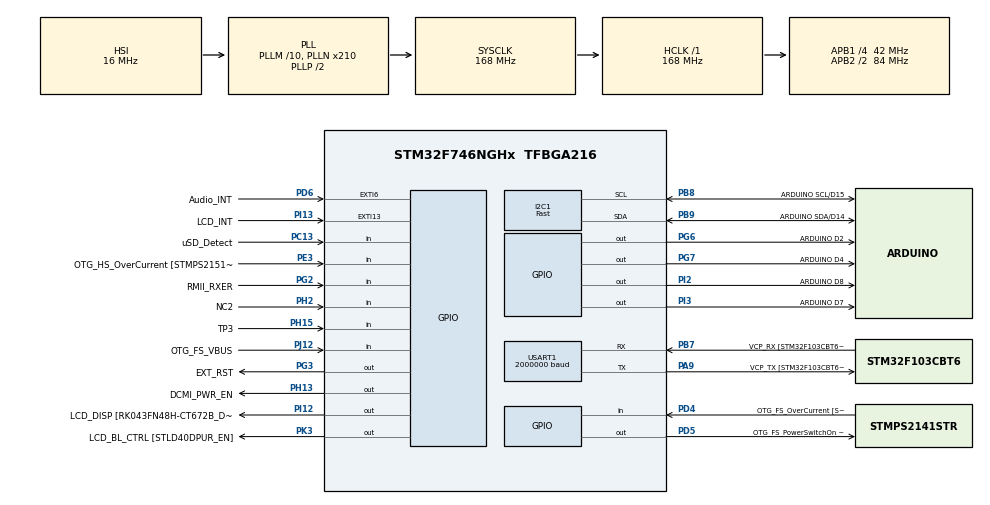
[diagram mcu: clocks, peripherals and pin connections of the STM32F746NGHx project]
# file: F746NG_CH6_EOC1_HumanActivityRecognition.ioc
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I2C1.I2C_Speed_Mode=I2C_Fast
I2C1.Timing=0x0040154A
Mcu.Family=STM32F7
Mcu.Name=STM32F746NGHx
Mcu.Package=TFBGA216
NVIC.PriorityGroup=NVIC_PRIORITYGROUP_4
NVIC.TIM2_IRQn=true\:1\:0\:true\:false\:true\:true\:true
PA0/WKUP.GPIO_Label=ARDUINO A0
PA0/WKUP.GPIO_Mode=GPIO_MODE_ANALOG
PA0/WKUP.GPIO_PuPd=GPIO_NOPULL
PA0/WKUP.Signal=ADCx_IN0
PA1.GPIO_Label=RMII_REF_CLK [LAN8742A-CZ-TR_REFCLK0]
PA1.Signal=ETH_REF_CLK
PA10.GPIO_Label=OTG_FS_ID
PA10.Signal=USB_OTG_FS_ID
PA11.GPIO_Label=OTG_FS_N
PA11.Signal=USB_OTG_FS_DM
PA12.GPIO_Label=OTG_FS_P
PA12.Signal=USB_OTG_FS_DP
PA13.GPIO_Label=SWDIO
PA13.Signal=SYS_JTMS-SWDIO
PA14.GPIO_Label=SWCLK
PA14.Signal=SYS_JTCK-SWCLK
PA15.GPIO_Label=ARDUINO PWM/D9
PA15.GPIO_ModeDefaultPP=GPIO_MODE_AF_PP
PA15.GPIO_PuPd=GPIO_NOPULL
PA15.GPIO_Speed=GPIO_SPEED_FREQ_LOW
PA15.Signal=S_TIM2_CH1_ETR
PA2.GPIO_Label=RMII_MDIO [LAN8742A-CZ-TR_MDIO]
PA2.Signal=ETH_MDIO
PA3.GPIO_Label=ULPI_D0 [USB3320C-EZK_D0]
PA3.Signal=USB_OTG_HS_ULPI_D0
PA4.GPIO_Label=DCMI_HSYNC
PA4.Signal=DCMI_HSYNC
PA5.GPIO_Label=ULPI_CLK [USB3320C-EZK_CLKOUT]
PA5.Signal=USB_OTG_HS_ULPI_CK
PA6.Signal=DCMI_PIXCLK
PA7.GPIO_Label=RMII_CRS_DV [LAN8742A-CZ-TR_CRS_DV]
PA7.Signal=ETH_CRS_DV
PA8.GPIO_Label=ARDUINO PWM/D10
PA8.GPIO_ModeDefaultPP=GPIO_MODE_AF_PP
PA8.GPIO_PuPd=GPIO_NOPULL
PA8.GPIO_Speed=GPIO_SPEED_FREQ_LOW
PA8.Signal=S_TIM1_CH1
PA9.GPIO_Label=VCP_TX [STM32F103CBT6_PA3]
PA9.GPIO_Mode=GPIO_MODE_AF_PP
PA9.GPIO_PuPd=GPIO_NOPULL
PA9.GPIO_Speed=GPIO_SPEED_FREQ_LOW
PA9.Mode=Asynchronous
PA9.Signal=USART1_TX
PB0.GPIO_Label=ULPI_D1 [USB3320C-EZK_D1]
PB0.Signal=USB_OTG_HS_ULPI_D1
PB1.GPIO_Label=ULPI_D2 [USB3320C-EZK_D2]
PB1.Signal=USB_OTG_HS_ULPI_D2
PB10.GPIO_Label=ULPI_D3 [USB3320C-EZK_D3]
PB10.Signal=USB_OTG_HS_ULPI_D3
PB11.GPIO_Label=ULPI_D4 [USB3320C-EZK_D4]
PB11.Signal=USB_OTG_HS_ULPI_D4
PB12.GPIO_Label=ULPI_D5 [USB3320C-EZK_D5]
PB12.Signal=USB_OTG_HS_ULPI_D5
PB13.GPIO_Label=ULPI_D6 [USB3320C-EZK_D6]
PB13.Signal=USB_OTG_HS_ULPI_D6
PB14.GPIO_Label=ARDUINO MISO/D12
PB14.GPIO_Mode=GPIO_MODE_AF_PP
PB14.GPIO_PuPd=GPIO_NOPULL
PB14.GPIO_Speed=GPIO_SPEED_FREQ_LOW
PB14.Signal=SPI2_MISO
PB15.GPIO_Label=ARDUINO MOSI/PWM/D11
PB15.GPIO_Mode=GPIO_MODE_AF_PP
PB15.GPIO_PuPd=GPIO_NOPULL
PB15.GPIO_Speed=GPIO_SPEED_FREQ_LOW
PB15.Signal=SPI2_MOSI
PB2.Signal=QUADSPI_CLK
PB3.GPIO_Label=SWO
PB3.Signal=SYS_JTDO-SWO
PB4.GPIO_Label=ARDUINO PWM/D3
PB4.GPIO_ModeDefaultPP=GPIO_MODE_AF_PP
PB4.GPIO_PuPd=GPIO_NOPULL
PB4.GPIO_Speed=GPIO_SPEED_FREQ_LOW
PB4.Signal=S_TIM3_CH1
PB5.GPIO_Label=ULPI_D7 [USB3320C-EZK_D7]
PB5.Signal=USB_OTG_HS_ULPI_D7
PB6.GPIO_Label=QSPI_NCS [N25Q128A13EF840E_S]
PB6.Signal=QUADSPI_BK1_NCS
PB7.GPIO_Label=VCP_RX [STM32F103CBT6_PA2]
PB7.GPIO_Mode=GPIO_MODE_AF_PP
PB7.GPIO_PuPd=GPIO_NOPULL
PB7.GPIO_Speed=GPIO_SPEED_FREQ_LOW
PB7.Mode=Asynchronous
PB7.Signal=USART1_RX
PB8.GPIO_Label=ARDUINO SCL/D15
PB8.GPIO_Mode=GPIO_MODE_AF_OD
PB8.GPIO_PuPd=GPIO_NOPULL
PB8.GPIO_Speed=GPIO_SPEED_FREQ_LOW
PB8.Mode=I2C
PB8.Signal=I2C1_SCL
PB9.GPIO_Label=ARDUINO SDA/D14
PB9.GPIO_Mode=GPIO_MODE_AF_OD
PB9.GPIO_PuPd=GPIO_NOPULL
PB9.GPIO_Speed=GPIO_SPEED_FREQ_LOW
PB9.Mode=I2C
PB9.Signal=I2C1_SDA
PC0.GPIO_Label=ULPI_STP [USB3320C-EZK_STP]
PC0.Signal=USB_OTG_HS_ULPI_STP
PC1.GPIO_Label=RMII_MDC [LAN8742A-CZ-TR_MDC]
PC1.Signal=ETH_MDC
PC10.GPIO_Label=SDMMC_D2
PC10.Signal=SDMMC1_D2
PC11.GPIO_Label=SDMMC_D3
PC11.Signal=SDMMC1_D3
PC12.GPIO_Label=SDMMC_CK
PC12.Signal=SDMMC1_CK
PC13.GPIO_Label=uSD_Detect
PC13.Signal=GPIO_Input
PC14/OSC32_IN.GPIO_Label=RCC_OSC32_IN
PC14/OSC32_IN.Signal=RCC_OSC32_IN
PC15/OSC32_OUT.GPIO_Label=RCC_OSC32_OUT
PC15/OSC32_OUT.Signal=RCC_OSC32_OUT
PC2.GPIO_Label=ULPI_DIR [USB3320C-EZK_DIR]
PC2.Signal=USB_OTG_HS_ULPI_DIR
PC3.GPIO_Label=FMC_SDCKE0 [MT48LC4M32B2B5-6A_CKE]
PC3.Signal=FMC_SDCKE0
PC4.GPIO_Label=RMII_RXD0 [LAN8742A-CZ-TR_RXD0]
PC4.Signal=ETH_RXD0
PC5.GPIO_Label=RMII_RXD1 [LAN8742A-CZ-TR_RXD1]
PC5.Signal=ETH_RXD1
PC6.GPIO_Label=ARDUINO TX/D1
PC6.Signal=USART6_TX
PC7.GPIO_Label=ARDUINO RX/D0
PC7.Signal=USART6_RX
PC8.Signal=SDMMC1_D0
PC9.Signal=SDMMC1_D1
PD0.GPIO_Label=FMC_D2 [MT48LC4M32B2B5-6A_DQ2]
PD0.Signal=FMC_D2_DA2
PD1.GPIO_Label=FMC_D3 [MT48LC4M32B2B5-6A_DQ3]
PD1.Signal=FMC_D3_DA3
PD10.GPIO_Label=FMC_D15 [MT48LC4M32B2B5-6A_DQ15]
PD10.Signal=FMC_D15_DA15
PD11.GPIO_Label=QSPI_D0 [N25Q128A13EF840E_DQ0]
PD11.Signal=QUADSPI_BK1_IO0
PD12.GPIO_Label=QSPI_D1 [N25Q128A13EF840E_DQ1]
PD12.Signal=QUADSPI_BK1_IO1
PD13.GPIO_Label=QSPI_D3 [N25Q128A13EF840E_DQ3]
PD13.Signal=QUADSPI_BK1_IO3
PD14.GPIO_Label=FMC_D0 [MT48LC4M32B2B5-6A_DQ0]
PD14.Signal=FMC_D0_DA0
PD15.GPIO_Label=FMC_D1 [MT48LC4M32B2B5-6A_DQ1]
PD15.Signal=FMC_D1_DA1
PD2.GPIO_Label=SDMMC_D0
PD2.Signal=SDMMC1_CMD
PD3.GPIO_Label=DCMI_D5
PD3.Signal=DCMI_D5
PD4.GPIO_Label=OTG_FS_OverCurrent [STMPS2141STR_Fault]
PD4.Signal=GPIO_Input
PD5.GPIO_Label=OTG_FS_PowerSwitchOn [STMPS2141STR_EN]
PD5.PinState=GPIO_PIN_SET
PD5.Signal=GPIO_Output
PD6.GPIO_Label=Audio_INT
PD6.GPIO_ModeDefaultEXTI=GPIO_MODE_EVT_RISING
PD6.Signal=GPXTI6
PD7.GPIO_Label=SPDIF_RX0 [74LVC1G04SE_4]
PD7.Signal=SPDIFRX_IN0
PD8.GPIO_Label=FMC_D13 [MT48LC4M32B2B5-6A_DQ13]
PD8.Signal=FMC_D13_DA13
PD9.GPIO_Label=FMC_D14 [MT48LC4M32B2B5-6A_DQ14]
PD9.Signal=FMC_D14_DA14
PE0.GPIO_Label=FMC_NBL0 [MT48LC4M32B2B5-6A_DQM0]
PE0.Signal=FMC_NBL0
PE1.GPIO_Label=FMC_NBL1 [MT48LC4M32B2B5-6A_DQM1]
PE1.Signal=FMC_NBL1
PE10.GPIO_Label=FMC_D7 [MT48LC4M32B2B5-6A_DQ7]
PE10.Signal=FMC_D7_DA7
PE11.GPIO_Label=FMC_D8 [MT48LC4M32B2B5-6A_DQ8]
PE11.Signal=FMC_D8_DA8
PE12.GPIO_Label=FMC_D9 [MT48LC4M32B2B5-6A_DQ9]
PE12.Signal=FMC_D9_DA9
PE13.GPIO_Label=FMC_D10 [MT48LC4M32B2B5-6A_DQ10]
PE13.Signal=FMC_D10_DA10
PE14.GPIO_Label=FMC_D11 [MT48LC4M32B2B5-6A_DQ11]
PE14.Signal=FMC_D11_DA11
PE15.GPIO_Label=FMC_D12 [MT48LC4M32B2B5-6A_DQ12]
PE15.Signal=FMC_D12_DA12
PE2.GPIO_Label=QSPI_D2 [N25Q128A13EF840E_DQ2]
PE2.Signal=QUADSPI_BK1_IO2
PE3.GPIO_Label=OTG_HS_OverCurrent [STMPS2151STR_FAULT]
PE3.Signal=GPIO_Input
PE4.GPIO_Label=LCD_B0 [RK043FN48H-CT672B_B0]
PE4.Signal=LTDC_B0
PE5.GPIO_Label=DCMI_D6
PE5.Signal=DCMI_D6
PE6.GPIO_Label=DCMI_D7
PE6.Signal=DCMI_D7
PE7.GPIO_Label=FMC_D4 [MT48LC4M32B2B5-6A_DQ4]
PE7.Signal=FMC_D4_DA4
PE8.GPIO_Label=FMC_D5 [MT48LC4M32B2B5-6A_DQ5]
PE8.Signal=FMC_D5_DA5
PE9.GPIO_Label=FMC_D6 [MT48LC4M32B2B5-6A_DQ6]
PE9.Signal=FMC_D6_DA6
PF0.GPIO_Label=FMC_A0 [MT48LC4M32B2B5-6A_A0]
PF0.Signal=FMC_A0
PF1.GPIO_Label=FMC_A1 [MT48LC4M32B2B5-6A_A1]
PF1.Signal=FMC_A1
PF10.GPIO_Label=ARDUINO A1
PF10.GPIO_Mode=GPIO_MODE_ANALOG
PF10.GPIO_PuPd=GPIO_NOPULL
PF10.Signal=ADC3_IN8
PF11.GPIO_Label=FMC_SDNRAS [MT48LC4M32B2B5-6A_RAS]
PF11.Signal=FMC_SDNRAS
PF12.GPIO_Label=FMC_A6 [MT48LC4M32B2B5-6A_A6]
PF12.Signal=FMC_A6
PF13.GPIO_Label=FMC_A7 [MT48LC4M32B2B5-6A_A7]
PF13.Signal=FMC_A7
PF14.GPIO_Label=FMC_A8 [MT48LC4M32B2B5-6A_A8]
PF14.Signal=FMC_A8
PF15.GPIO_Label=FMC_A9 [MT48LC4M32B2B5-6A_A9]
PF15.Signal=FMC_A9
PF2.GPIO_Label=FMC_A2 [MT48LC4M32B2B5-6A_A2]
PF2.Signal=FMC_A2
PF3.GPIO_Label=FMC_A3 [MT48LC4M32B2B5-6A_A3]
PF3.Signal=FMC_A3
PF4.GPIO_Label=FMC_A4 [MT48LC4M32B2B5-6A_A4]
PF4.Signal=FMC_A4
PF5.GPIO_Label=FMC_A5 [MT48LC4M32B2B5-6A_A5]
PF5.Signal=FMC_A5
PF6.GPIO_Label=ARDUINO A5
PF6.GPIO_Mode=GPIO_MODE_ANALOG
PF6.GPIO_PuPd=GPIO_NOPULL
PF6.Signal=ADC3_IN4
PF7.GPIO_Label=ARDUINO A4
PF7.GPIO_Mode=GPIO_MODE_ANALOG
PF7.GPIO_PuPd=GPIO_NOPULL
PF7.Signal=ADC3_IN5
PF8.GPIO_Label=ARDUINO A3
PF8.GPIO_Mode=GPIO_MODE_ANALOG
PF8.GPIO_PuPd=GPIO_NOPULL
PF8.Signal=ADC3_IN6
PF9.GPIO_Label=ARDUINO A2
PF9.GPIO_Mode=GPIO_MODE_ANALOG
PF9.GPIO_PuPd=GPIO_NOPULL
PF9.Signal=ADC3_IN7
PG0.GPIO_Label=FMC_A10 [MT48LC4M32B2B5-6A_A10]
PG0.Signal=FMC_A10
PG1.GPIO_Label=FMC_A11 [MT48LC4M32B2B5-6A_A11]
PG1.Signal=FMC_A11
PG10.GPIO_Label=SAI2_SDB [WM8994ECS/R_ADCDAT1]
PG10.Signal=SAI2_SD_B
PG11.GPIO_Label=RMII_TX_EN [LAN8742A-CZ-TR_TXEN]
PG11.Signal=ETH_TX_EN
PG12.GPIO_Label=LCD_B4 [RK043FN48H-CT672B_B4]
PG12.Signal=LTDC_B4
PG13.GPIO_Label=RMII_TXD0 [LAN8742A-CZ-TR_TXD0]
PG13.Signal=ETH_TXD0
PG14.GPIO_Label=RMII_TXD1 [LAN8742A-CZ-TR_TXD1]
PG14.Signal=ETH_TXD1
PG15.GPIO_Label=FMC_SDNCAS [MT48LC4M32B2B5-6A_CAS]
PG15.Signal=FMC_SDNCAS
PG2.GPIO_Label=RMII_RXER
PG2.Signal=GPIO_Input
PG3.GPIO_Label=EXT_RST
PG3.Signal=GPIO_Output
PG4.GPIO_Label=FMC_BA0 [MT48LC4M32B2B5-6A_BA0]
PG4.Signal=FMC_A14_BA0
PG5.GPIO_Label=FMC_BA1 [MT48LC4M32B2B5-6A_BA1]
PG5.Signal=FMC_A15_BA1
PG6.GPIO_Label=ARDUINO D2
PG6.Signal=GPIO_Output
PG7.GPIO_Label=ARDUINO D4
PG7.Signal=GPIO_Output
PG8.GPIO_Label=FMC_SDCLK [MT48LC4M32B2B5-6A_CLK]
PG8.Signal=FMC_SDCLK
PG9.GPIO_Label=DCMI_VSYNC
PG9.Signal=DCMI_VSYNC
PH0/OSC_IN.GPIO_Label=OSC_25M [NZ2520SB-25.00M_OUT]
PH0/OSC_IN.Signal=RCC_OSC_IN
PH1/OSC_OUT.Signal=RCC_OSC_OUT
PH10.GPIO_Label=DCMI_D1
PH10.Signal=DCMI_D1
PH11.GPIO_Label=DCMI_D2
PH11.Signal=DCMI_D2
PH12.GPIO_Label=DCMI_D3
PH12.Signal=DCMI_D3
PH13.GPIO_Label=DCMI_PWR_EN
PH13.Signal=GPIO_Output
PH14.GPIO_Label=DCMI_D4
PH14.Signal=DCMI_D4
PH15.GPIO_Label=TP3
PH15.Signal=GPIO_Input
PH2.GPIO_Label=NC2
PH2.Signal=GPIO_Input
PH3.GPIO_Label=FMC_SDNE0 [MT48LC4M32B2B5-6A_CS]
PH3.Signal=FMC_SDNE0
PH4.GPIO_Label=ULPI_NXT [USB3320C-EZK_NXT]
PH4.Signal=USB_OTG_HS_ULPI_NXT
PH5.GPIO_Label=FMC_SDNME [MT48LC4M32B2B5-6A_WE]
PH5.Signal=FMC_SDNWE
PH6.GPIO_Label=ARDUINO PWM/D6
PH6.Signal=S_TIM12_CH1
PH7.GPIO_Label=LCD_SCL [RK043FN48H-CT672B_SCL]
PH7.Signal=I2C3_SCL
PH8.GPIO_Label=LCD_SDA [RK043FN48H-CT672B_SDA]
PH8.Signal=I2C3_SDA
PH9.GPIO_Label=DCMI_D0
PH9.Signal=DCMI_D0
PI0.GPIO_Label=ARDUINO PWM/CS/D5
PI0.GPIO_ModeDefaultPP=GPIO_MODE_AF_PP
PI0.GPIO_PuPd=GPIO_NOPULL
PI0.GPIO_Speed=GPIO_SPEED_FREQ_LOW
PI0.Signal=S_TIM5_CH4
PI1.GPIO_Label=ARDUINO SCK/D13
PI1.GPIO_Mode=GPIO_MODE_AF_PP
PI1.GPIO_PuPd=GPIO_NOPULL
PI1.GPIO_Speed=GPIO_SPEED_FREQ_LOW
PI1.Signal=SPI2_SCK
PI10.GPIO_Label=LCD_HSYNC [RK043FN48H-CT672B_HSYNC]
PI10.Signal=LTDC_HSYNC
PI12.GPIO_Label=LCD_DISP [RK043FN48H-CT672B_DISP] 
PI12.Signal=GPIO_Output
PI13.GPIO_Label=LCD_INT
PI13.GPIO_ModeDefaultEXTI=GPIO_MODE_EVT_RISING
PI13.Signal=GPXTI13
PI14.GPIO_Label=LCD_CLK [RK043FN48H-CT672B_CLK]
PI14.Signal=LTDC_CLK
PI15.GPIO_Label=LCD_R0 [RK043FN48H-CT672B_R0]
PI15.Signal=LTDC_R0
PI2.GPIO_Label=ARDUINO D8
PI2.Signal=GPIO_Output
PI3.GPIO_Label=ARDUINO D7
PI3.Signal=GPIO_Output
PI4.GPIO_Label=SAI2_MCLKA [WM8994ECS/R_MCLK1]
PI4.Signal=SAI2_MCLK_A
PI5.GPIO_Label=SAI2_SCKA [WM8994ECS/R_BCLK1]
PI5.Signal=SAI2_SCK_A
PI6.GPIO_Label=SAI2_SDA [WM8994ECS/R_DACDAT1]
PI6.Signal=SAI2_SD_A
PI7.GPIO_Label=SAI2_FSA [WM8994ECS/R_LRCLK1]
PI7.Signal=SAI2_FS_A
PI8.GPIO_Label=NC1 [TP2]
PI8.Signal=RTC_TS
PI9.GPIO_Label=LCD_VSYNC [RK043FN48H-CT672B_VSYNC]
PI9.Signal=LTDC_VSYNC
PJ0.GPIO_Label=LCD_R1 [RK043FN48H-CT672B_R1]
PJ0.Signal=LTDC_R1
PJ1.GPIO_Label=LCD_R2 [RK043FN48H-CT672B_R2]
PJ1.Signal=LTDC_R2
PJ10.GPIO_Label=LCD_G3 [RK043FN48H-CT672B_G3]
PJ10.Signal=LTDC_G3
PJ11.GPIO_Label=LCD_G4 [RK043FN48H-CT672B_G4]
PJ11.Signal=LTDC_G4
PJ12.GPIO_Label=OTG_FS_VBUS
PJ12.Signal=GPIO_Input
PJ13.GPIO_Label=LCD_B1 [RK043FN48H-CT672B_B1]
PJ13.Signal=LTDC_B1
PJ14.GPIO_Label=LCD_B2 [RK043FN48H-CT672B_B2]
PJ14.Signal=LTDC_B2
PJ15.GPIO_Label=LCD_B3 [RK043FN48H-CT672B_B3]
PJ15.Signal=LTDC_B3
PJ2.GPIO_Label=LCD_R3 [RK043FN48H-CT672B_R3]
PJ2.Signal=LTDC_R3
PJ3.GPIO_Label=LCD_R4 [RK043FN48H-CT672B_R4]
PJ3.Signal=LTDC_R4
PJ4.GPIO_Label=LCD_R5 [RK043FN48H-CT672B_R5]
PJ4.Signal=LTDC_R5
PJ5.GPIO_Label=LCD_R6 [RK043FN48H-CT672B_R6]
PJ5.Signal=LTDC_R6
PJ6.GPIO_Label=LCD_R7 [RK043FN48H-CT672B_R7]
PJ6.Signal=LTDC_R7
PJ7.GPIO_Label=LCD_G0 [RK043FN48H-CT672B_G0]
PJ7.Signal=LTDC_G0
PJ8.GPIO_Label=LCD_G1 [RK043FN48H-CT672B_G1]
PJ8.Signal=LTDC_G1
PJ9.GPIO_Label=LCD_G2 [RK043FN48H-CT672B_G2]
PJ9.Signal=LTDC_G2
PK0.GPIO_Label=LCD_G5 [RK043FN48H-CT672B_G5]
PK0.Signal=LTDC_G5
PK1.GPIO_Label=LCD_G6 [RK043FN48H-CT672B_G6]
PK1.Signal=LTDC_G6
PK2.GPIO_Label=LCD_G7 [RK043FN48H-CT672B_G7]
PK2.Signal=LTDC_G7
PK3.GPIO_Label=LCD_BL_CTRL [STLD40DPUR_EN]
PK3.Signal=GPIO_Output
PK4.GPIO_Label=LCD_B5 [RK043FN48H-CT672B_B5]
PK4.Signal=LTDC_B5
PK5.GPIO_Label=LCD_B6 [RK043FN48H-CT672B_B6]
PK5.Signal=LTDC_B6
PK6.GPIO_Label=LCD_B7 [RK043FN48H-CT672B_B7]
PK6.Signal=LTDC_B7
PK7.GPIO_Label=LCD_DE [RK043FN48H-CT672B_DE]
PK7.Signal=LTDC_DE
ProjectManager.HeapSize=0x200
ProjectManager.StackSize=0x400
ProjectManager.TargetToolchain=STM32CubeIDE
RCC.AHBFreq_Value=168000000
RCC.APB1CLKDivider=RCC_HCLK_DIV4
RCC.APB1Freq_Value=42000000
RCC.APB1TimFreq_Value=84000000
RCC.APB2CLKDivider=RCC_HCLK_DIV2
RCC.APB2Freq_Value=84000000
RCC.APB2TimFreq_Value=168000000
RCC.CortexFreq_Value=168000000
RCC.HCLKFreq_Value=168000000
RCC.HSE_VALUE=25000000
RCC.HSI_VALUE=16000000
RCC.LSE_VALUE=32768
RCC.PLLM=10
RCC.PLLN=210
RCC.PLLSourceVirtual=RCC_PLLSOURCE_HSI
RCC.SYSCLKFreq_VALUE=168000000
RCC.SYSCLKSource=RCC_SYSCLKSOURCE_PLLCLK
RCC.USBFreq_Value=168000000
RCC.VCOOutputFreq_Value=336000000
SH.ADCx_IN0.0=ADC3_IN0
SH.FMC_A0.0=FMC_A0
SH.FMC_A1.0=FMC_A1
SH.FMC_A10.0=FMC_A10
SH.FMC_A11.0=FMC_A11
SH.FMC_A14_BA0.0=FMC_BA0
SH.FMC_A15_BA1.0=FMC_BA1
SH.FMC_A2.0=FMC_A2
SH.FMC_A3.0=FMC_A3
SH.FMC_A4.0=FMC_A4
SH.FMC_A5.0=FMC_A5
SH.FMC_A6.0=FMC_A6
SH.FMC_A7.0=FMC_A7
SH.FMC_A8.0=FMC_A8
SH.FMC_A9.0=FMC_A9
SH.FMC_D0_DA0.0=FMC_D0
SH.FMC_D10_DA10.0=FMC_D10
SH.FMC_D11_DA11.0=FMC_D11
SH.FMC_D12_DA12.0=FMC_D12
SH.FMC_D13_DA13.0=FMC_D13
SH.FMC_D14_DA14.0=FMC_D14
SH.FMC_D15_DA15.0=FMC_D15
SH.FMC_D1_DA1.0=FMC_D1
SH.FMC_D2_DA2.0=FMC_D2
SH.FMC_D3_DA3.0=FMC_D3
SH.FMC_D4_DA4.0=FMC_D4
SH.FMC_D5_DA5.0=FMC_D5
SH.FMC_D6_DA6.0=FMC_D6
SH.FMC_D7_DA7.0=FMC_D7
SH.FMC_D8_DA8.0=FMC_D8
SH.FMC_D9_DA9.0=FMC_D9
SH.FMC_NBL0.0=FMC_NBL0
SH.FMC_NBL1.0=FMC_NBL1
SH.FMC_SDCLK.0=FMC_SDCLK
SH.FMC_SDNCAS.0=FMC_SDNCAS
SH.FMC_SDNRAS.0=FMC_SDNRAS
SH.FMC_SDNWE.0=FMC_SDNWE
SH.S_TIM12_CH1.0=TIM12_CH1
SH.S_TIM1_CH1.0=TIM1_CH1
SH.S_TIM2_CH1_ETR.0=TIM2_CH1
SH.S_TIM3_CH1.0=TIM3_CH1
SH.S_TIM5_CH4.0=TIM5_CH4
TIM2.Period=19999
TIM2.Prescaler=83
USART1.BaudRate=2000000
USART1.VirtualMode-Asynchronous=VM_ASYNC
VP_TIM2_VS_ClockSourceINT.Mode=Internal
board=STM32F746G-DISCO

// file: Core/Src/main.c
/* USER CODE BEGIN Header */
/**
  ******************************************************************************
  * @file           : main.c
  * @brief          : Main program body
  ******************************************************************************
  * @attention
  *
  * Copyright (c) 2024 STMicroelectronics.
  * All rights reserved.
  *
  * This software is licensed under terms that can be found in the LICENSE file
  * in the root directory of this software component.
  * If no LICENSE file comes with this software, it is provided AS-IS.
  *
  ******************************************************************************
  */
/* USER CODE END Header */
#include "main.h"

/* USER CODE BEGIN Includes */
#include "lib_bno055.h"
#include "lib_serial.h"
#include "har_feature_extraction.h"
#include "bayes_cls_inference.h"
/* USER CODE END Includes */

I2C_HandleTypeDef hi2c1;

TIM_HandleTypeDef htim2;

UART_HandleTypeDef huart1;

void SystemClock_Config(void);
static void MX_GPIO_Init(void);
static void MX_I2C1_Init(void);
static void MX_TIM2_Init(void);
static void MX_USART1_UART_Init(void);

/* USER CODE BEGIN 0 */
#define SIZE_INPUT	VECTOR_LEN

HAR_FtrExtOutput features;

volatile uint32_t counter = 0, startTick = 0, stopTick = 0;
volatile uint8_t isDataReady = 0;
float accel[3][SIZE_INPUT] = {0};
float output[NUM_CLASSES] = {0};

void HAL_TIM_PeriodElapsedCallback(TIM_HandleTypeDef *htim)
{
	if (htim->Instance == htim2.Instance)
	{
		LIB_BNO055_ReadAccelXYZ(&accel[0][counter], &accel[1][counter], &accel[2][counter]);
		counter = counter + 1;
		if (counter >= SIZE_INPUT)
		{
			isDataReady = 1;
			counter = 0;
		}

	}
}

arm_matrix_instance_f32 mat_input = {.numCols = 1, .numRows= NUM_FEATURES, .pData=(float*)&features};
arm_matrix_instance_f32 mat_output = {.numCols = NUM_CLASSES, .numRows=1, .pData=output};

/* USER CODE END 0 */

int main(void)
{

  /* MCU Configuration--------------------------------------------------------*/

  /* Reset of all peripherals, Initializes the Flash interface and the Systick. */
  HAL_Init();

  /* Configure the system clock */
  SystemClock_Config();

  /* Initialize all configured peripherals */
  MX_GPIO_Init();
  MX_I2C1_Init();
  MX_TIM2_Init();
  MX_USART1_UART_Init();
  /* USER CODE BEGIN 2 */
  LIB_BNO055_Init();
  HAL_TIM_Base_Start_IT(&htim2);

  /* USER CODE END 2 */

  /* Infinite loop */
  while (1)
  {

    /* USER CODE BEGIN 3 */
	if (isDataReady == 1)
	{
		isDataReady = 0;
		/*SEND AUDIO DATA TO PC*/
		LIB_SERIAL_Transmit(accel, sizeof(accel)/sizeof(float), TYPE_F32);
		/*RUN INFERENCE ON MCU*/
		har_extract_features(accel, &features);
		bayes_cls_predict(&mat_input, &mat_output);
		/*SEND INFERENCE RESULTS TO PC*/
		LIB_SERIAL_Transmit(&output, sizeof(output)/sizeof(float), TYPE_F32);
	}
  }
  /* USER CODE END 3 */
}

void SystemClock_Config(void)
{
  RCC_OscInitTypeDef RCC_OscInitStruct = {0};
  RCC_ClkInitTypeDef RCC_ClkInitStruct = {0};

  /** Configure the main internal regulator output voltage
  */
  __HAL_RCC_PWR_CLK_ENABLE();
  __HAL_PWR_VOLTAGESCALING_CONFIG(PWR_REGULATOR_VOLTAGE_SCALE2);
  /** Initializes the RCC Oscillators according to the specified parameters
  * in the RCC_OscInitTypeDef structure.
  */
  RCC_OscInitStruct.OscillatorType = RCC_OSCILLATORTYPE_HSI;
  RCC_OscInitStruct.HSIState = RCC_HSI_ON;
  RCC_OscInitStruct.HSICalibrationValue = RCC_HSICALIBRATION_DEFAULT;
  RCC_OscInitStruct.PLL.PLLState = RCC_PLL_ON;
  RCC_OscInitStruct.PLL.PLLSource = RCC_PLLSOURCE_HSI;
  RCC_OscInitStruct.PLL.PLLM = 10;
  RCC_OscInitStruct.PLL.PLLN = 210;
  RCC_OscInitStruct.PLL.PLLP = RCC_PLLP_DIV2;
  RCC_OscInitStruct.PLL.PLLQ = 2;
  if (HAL_RCC_OscConfig(&RCC_OscInitStruct) != HAL_OK)
  {
    Error_Handler();
  }
  /** Initializes the CPU, AHB and APB buses clocks
  */
  RCC_ClkInitStruct.ClockType = RCC_CLOCKTYPE_HCLK|RCC_CLOCKTYPE_SYSCLK
                              |RCC_CLOCKTYPE_PCLK1|RCC_CLOCKTYPE_PCLK2;
  RCC_ClkInitStruct.SYSCLKSource = RCC_SYSCLKSOURCE_PLLCLK;
  RCC_ClkInitStruct.AHBCLKDivider = RCC_SYSCLK_DIV1;
  RCC_ClkInitStruct.APB1CLKDivider = RCC_HCLK_DIV4;
  RCC_ClkInitStruct.APB2CLKDivider = RCC_HCLK_DIV2;

  if (HAL_RCC_ClockConfig(&RCC_ClkInitStruct, FLASH_LATENCY_5) != HAL_OK)
  {
    Error_Handler();
  }
}

static void MX_I2C1_Init(void)
{

  hi2c1.Instance = I2C1;
  hi2c1.Init.Timing = 0x0040154A;
  hi2c1.Init.OwnAddress1 = 0;
  hi2c1.Init.AddressingMode = I2C_ADDRESSINGMODE_7BIT;
  hi2c1.Init.DualAddressMode = I2C_DUALADDRESS_DISABLE;
  hi2c1.Init.OwnAddress2 = 0;
  hi2c1.Init.OwnAddress2Masks = I2C_OA2_NOMASK;
  hi2c1.Init.GeneralCallMode = I2C_GENERALCALL_DISABLE;
  hi2c1.Init.NoStretchMode = I2C_NOSTRETCH_DISABLE;
  if (HAL_I2C_Init(&hi2c1) != HAL_OK)
  {
    Error_Handler();
  }
  /** Configure Analogue filter
  */
  if (HAL_I2CEx_ConfigAnalogFilter(&hi2c1, I2C_ANALOGFILTER_ENABLE) != HAL_OK)
  {
    Error_Handler();
  }
  /** Configure Digital filter
  */
  if (HAL_I2CEx_ConfigDigitalFilter(&hi2c1, 0) != HAL_OK)
  {
    Error_Handler();
  }

}

static void MX_TIM2_Init(void)
{

  TIM_ClockConfigTypeDef sClockSourceConfig = {0};
  TIM_MasterConfigTypeDef sMasterConfig = {0};

  htim2.Instance = TIM2;
  htim2.Init.Prescaler = 83;
  htim2.Init.CounterMode = TIM_COUNTERMODE_UP;
  htim2.Init.Period = 19999;
  htim2.Init.ClockDivision = TIM_CLOCKDIVISION_DIV1;
  htim2.Init.AutoReloadPreload = TIM_AUTORELOAD_PRELOAD_DISABLE;
  if (HAL_TIM_Base_Init(&htim2) != HAL_OK)
  {
    Error_Handler();
  }
  sClockSourceConfig.ClockSource = TIM_CLOCKSOURCE_INTERNAL;
  if (HAL_TIM_ConfigClockSource(&htim2, &sClockSourceConfig) != HAL_OK)
  {
    Error_Handler();
  }
  sMasterConfig.MasterOutputTrigger = TIM_TRGO_RESET;
  sMasterConfig.MasterSlaveMode = TIM_MASTERSLAVEMODE_DISABLE;
  if (HAL_TIMEx_MasterConfigSynchronization(&htim2, &sMasterConfig) != HAL_OK)
  {
    Error_Handler();
  }

}

static void MX_USART1_UART_Init(void)
{

  huart1.Instance = USART1;
  huart1.Init.BaudRate = 2000000;
  huart1.Init.WordLength = UART_WORDLENGTH_8B;
  huart1.Init.StopBits = UART_STOPBITS_1;
  huart1.Init.Parity = UART_PARITY_NONE;
  huart1.Init.Mode = UART_MODE_TX_RX;
  huart1.Init.HwFlowCtl = UART_HWCONTROL_NONE;
  huart1.Init.OverSampling = UART_OVERSAMPLING_16;
  huart1.Init.OneBitSampling = UART_ONE_BIT_SAMPLE_DISABLE;
  huart1.AdvancedInit.AdvFeatureInit = UART_ADVFEATURE_NO_INIT;
  if (HAL_UART_Init(&huart1) != HAL_OK)
  {
    Error_Handler();
  }

}

static void MX_GPIO_Init(void)
{
  GPIO_InitTypeDef GPIO_InitStruct = {0};

  /* GPIO Ports Clock Enable */
  __HAL_RCC_GPIOE_CLK_ENABLE();
  __HAL_RCC_GPIOG_CLK_ENABLE();
  __HAL_RCC_GPIOB_CLK_ENABLE();
  __HAL_RCC_GPIOD_CLK_ENABLE();
  __HAL_RCC_GPIOC_CLK_ENABLE();
  __HAL_RCC_GPIOA_CLK_ENABLE();
  __HAL_RCC_GPIOJ_CLK_ENABLE();
  __HAL_RCC_GPIOI_CLK_ENABLE();
  __HAL_RCC_GPIOK_CLK_ENABLE();
  __HAL_RCC_GPIOF_CLK_ENABLE();
  __HAL_RCC_GPIOH_CLK_ENABLE();

  /*Configure GPIO pin Output Level */
  HAL_GPIO_WritePin(OTG_FS_PowerSwitchOn_GPIO_Port, OTG_FS_PowerSwitchOn_Pin, GPIO_PIN_SET);

  /*Configure GPIO pin Output Level */
  HAL_GPIO_WritePin(GPIOI, ARDUINO_D7_Pin|ARDUINO_D8_Pin|LCD_DISP_Pin, GPIO_PIN_RESET);

  /*Configure GPIO pin Output Level */
  HAL_GPIO_WritePin(LCD_BL_CTRL_GPIO_Port, LCD_BL_CTRL_Pin, GPIO_PIN_RESET);

  /*Configure GPIO pin Output Level */
  HAL_GPIO_WritePin(DCMI_PWR_EN_GPIO_Port, DCMI_PWR_EN_Pin, GPIO_PIN_RESET);

  /*Configure GPIO pin Output Level */
  HAL_GPIO_WritePin(GPIOG, ARDUINO_D4_Pin|ARDUINO_D2_Pin|EXT_RST_Pin, GPIO_PIN_RESET);

  /*Configure GPIO pin : LCD_B0_Pin */
  GPIO_InitStruct.Pin = LCD_B0_Pin;
  GPIO_InitStruct.Mode = GPIO_MODE_AF_PP;
  GPIO_InitStruct.Pull = GPIO_NOPULL;
  GPIO_InitStruct.Speed = GPIO_SPEED_FREQ_LOW;
  GPIO_InitStruct.Alternate = GPIO_AF14_LTDC;
  HAL_GPIO_Init(LCD_B0_GPIO_Port, &GPIO_InitStruct);

  /*Configure GPIO pin : OTG_HS_OverCurrent_Pin */
  GPIO_InitStruct.Pin = OTG_HS_OverCurrent_Pin;
  GPIO_InitStruct.Mode = GPIO_MODE_INPUT;
  GPIO_InitStruct.Pull = GPIO_NOPULL;
  HAL_GPIO_Init(OTG_HS_OverCurrent_GPIO_Port, &GPIO_InitStruct);

  /*Configure GPIO pin : QSPI_D2_Pin */
  GPIO_InitStruct.Pin = QSPI_D2_Pin;
  GPIO_InitStruct.Mode = GPIO_MODE_AF_PP;
  GPIO_InitStruct.Pull = GPIO_NOPULL;
  GPIO_InitStruct.Speed = GPIO_SPEED_FREQ_VERY_HIGH;
  GPIO_InitStruct.Alternate = GPIO_AF9_QUADSPI;
  HAL_GPIO_Init(QSPI_D2_GPIO_Port, &GPIO_InitStruct);

  /*Configure GPIO pins : RMII_TXD1_Pin RMII_TXD0_Pin RMII_TX_EN_Pin */
  GPIO_InitStruct.Pin = RMII_TXD1_Pin|RMII_TXD0_Pin|RMII_TX_EN_Pin;
  GPIO_InitStruct.Mode = GPIO_MODE_AF_PP;
  GPIO_InitStruct.Pull = GPIO_NOPULL;
  GPIO_InitStruct.Speed = GPIO_SPEED_FREQ_VERY_HIGH;
  GPIO_InitStruct.Alternate = GPIO_AF11_ETH;
  HAL_GPIO_Init(GPIOG, &GPIO_InitStruct);

  /*Configure GPIO pins : FMC_NBL1_Pin FMC_NBL0_Pin FMC_D5_Pin FMC_D6_Pin
                           FMC_D8_Pin FMC_D11_Pin FMC_D4_Pin FMC_D7_Pin
                           FMC_D9_Pin FMC_D12_Pin FMC_D10_Pin */
  GPIO_InitStruct.Pin = FMC_NBL1_Pin|FMC_NBL0_Pin|FMC_D5_Pin|FMC_D6_Pin
                          |FMC_D8_Pin|FMC_D11_Pin|FMC_D4_Pin|FMC_D7_Pin
                          |FMC_D9_Pin|FMC_D12_Pin|FMC_D10_Pin;
  GPIO_InitStruct.Mode = GPIO_MODE_AF_PP;
  GPIO_InitStruct.Pull = GPIO_NOPULL;
  GPIO_InitStruct.Speed = GPIO_SPEED_FREQ_VERY_HIGH;
  GPIO_InitStruct.Alternate = GPIO_AF12_FMC;
  HAL_GPIO_Init(GPIOE, &GPIO_InitStruct);

  /*Configure GPIO pins : ULPI_D7_Pin ULPI_D6_Pin ULPI_D5_Pin ULPI_D3_Pin
                           ULPI_D2_Pin ULPI_D1_Pin ULPI_D4_Pin */
  GPIO_InitStruct.Pin = ULPI_D7_Pin|ULPI_D6_Pin|ULPI_D5_Pin|ULPI_D3_Pin
                          |ULPI_D2_Pin|ULPI_D1_Pin|ULPI_D4_Pin;
  GPIO_InitStruct.Mode = GPIO_MODE_AF_PP;
  GPIO_InitStruct.Pull = GPIO_NOPULL;
  GPIO_InitStruct.Speed = GPIO_SPEED_FREQ_VERY_HIGH;
  GPIO_InitStruct.Alternate = GPIO_AF10_OTG_HS;
  HAL_GPIO_Init(GPIOB, &GPIO_InitStruct);

  /*Configure GPIO pin : ARDUINO_PWM_D3_Pin */
  GPIO_InitStruct.Pin = ARDUINO_PWM_D3_Pin;
  GPIO_InitStruct.Mode = GPIO_MODE_AF_PP;
  GPIO_InitStruct.Pull = GPIO_NOPULL;
  GPIO_InitStruct.Speed = GPIO_SPEED_FREQ_LOW;
  GPIO_InitStruct.Alternate = GPIO_AF2_TIM3;
  HAL_GPIO_Init(ARDUINO_PWM_D3_GPIO_Port, &GPIO_InitStruct);

  /*Configure GPIO pin : SPDIF_RX0_Pin */
  GPIO_InitStruct.Pin = SPDIF_RX0_Pin;
  GPIO_InitStruct.Mode = GPIO_MODE_AF_PP;
  GPIO_InitStruct.Pull = GPIO_NOPULL;
  GPIO_InitStruct.Speed = GPIO_SPEED_FREQ_LOW;
  GPIO_InitStruct.Alternate = GPIO_AF8_SPDIFRX;
  HAL_GPIO_Init(SPDIF_RX0_GPIO_Port, &GPIO_InitStruct);

  /*Configure GPIO pins : SDMMC_CK_Pin SDMMC_D3_Pin SDMMC_D2_Pin PC9
                           PC8 */
  GPIO_InitStruct.Pin = SDMMC_CK_Pin|SDMMC_D3_Pin|SDMMC_D2_Pin|GPIO_PIN_9
                          |GPIO_PIN_8;
  GPIO_InitStruct.Mode = GPIO_MODE_AF_PP;
  GPIO_InitStruct.Pull = GPIO_NOPULL;
  GPIO_InitStruct.Speed = GPIO_SPEED_FREQ_VERY_HIGH;
  GPIO_InitStruct.Alternate = GPIO_AF12_SDMMC1;
  HAL_GPIO_Init(GPIOC, &GPIO_InitStruct);

  /*Configure GPIO pins : DCMI_D6_Pin DCMI_D7_Pin */
  GPIO_InitStruct.Pin = DCMI_D6_Pin|DCMI_D7_Pin;
  GPIO_InitStruct.Mode = GPIO_MODE_AF_PP;
  GPIO_InitStruct.Pull = GPIO_NOPULL;
  GPIO_InitStruct.Speed = GPIO_SPEED_FREQ_LOW;
  GPIO_InitStruct.Alternate = GPIO_AF13_DCMI;
  HAL_GPIO_Init(GPIOE, &GPIO_InitStruct);

  /*Configure GPIO pin : QSPI_NCS_Pin */
  GPIO_InitStruct.Pin = QSPI_NCS_Pin;
  GPIO_InitStruct.Mode = GPIO_MODE_AF_PP;
  GPIO_InitStruct.Pull = GPIO_NOPULL;
  GPIO_InitStruct.Speed = GPIO_SPEED_FREQ_VERY_HIGH;
  GPIO_InitStruct.Alternate = GPIO_AF10_QUADSPI;
  HAL_GPIO_Init(QSPI_NCS_GPIO_Port, &GPIO_InitStruct);

  /*Configure GPIO pins : FMC_SDNCAS_Pin FMC_SDCLK_Pin FMC_A11_Pin FMC_A10_Pin
                           FMC_BA1_Pin FMC_BA0_Pin */
  GPIO_InitStruct.Pin = FMC_SDNCAS_Pin|FMC_SDCLK_Pin|FMC_A11_Pin|FMC_A10_Pin
                          |FMC_BA1_Pin|FMC_BA0_Pin;
  GPIO_InitStruct.Mode = GPIO_MODE_AF_PP;
  GPIO_InitStruct.Pull = GPIO_NOPULL;
  GPIO_InitStruct.Speed = GPIO_SPEED_FREQ_VERY_HIGH;
  GPIO_InitStruct.Alternate = GPIO_AF12_FMC;
  HAL_GPIO_Init(GPIOG, &GPIO_InitStruct);

  /*Configure GPIO pins : LCD_B1_Pin LCD_B2_Pin LCD_B3_Pin LCD_G4_Pin
                           LCD_G1_Pin LCD_G3_Pin LCD_G0_Pin LCD_G2_Pin
                           LCD_R7_Pin LCD_R5_Pin LCD_R6_Pin LCD_R4_Pin
                           LCD_R3_Pin LCD_R1_Pin LCD_R2_Pin */
  GPIO_InitStruct.Pin = LCD_B1_Pin|LCD_B2_Pin|LCD_B3_Pin|LCD_G4_Pin
                          |LCD_G1_Pin|LCD_G3_Pin|LCD_G0_Pin|LCD_G2_Pin
                          |LCD_R7_Pin|LCD_R5_Pin|LCD_R6_Pin|LCD_R4_Pin
                          |LCD_R3_Pin|LCD_R1_Pin|LCD_R2_Pin;
  GPIO_InitStruct.Mode = GPIO_MODE_AF_PP;
  GPIO_InitStruct.Pull = GPIO_NOPULL;
  GPIO_InitStruct.Speed = GPIO_SPEED_FREQ_LOW;
  GPIO_InitStruct.Alternate = GPIO_AF14_LTDC;
  HAL_GPIO_Init(GPIOJ, &GPIO_InitStruct);

  /*Configure GPIO pin : OTG_FS_VBUS_Pin */
  GPIO_InitStruct.Pin = OTG_FS_VBUS_Pin;
  GPIO_InitStruct.Mode = GPIO_MODE_INPUT;
  GPIO_InitStruct.Pull = GPIO_NOPULL;
  HAL_GPIO_Init(OTG_FS_VBUS_GPIO_Port, &GPIO_InitStruct);

  /*Configure GPIO pin : Audio_INT_Pin */
  GPIO_InitStruct.Pin = Audio_INT_Pin;
  GPIO_InitStruct.Mode = GPIO_MODE_EVT_RISING;
  GPIO_InitStruct.Pull = GPIO_NOPULL;
  HAL_GPIO_Init(Audio_INT_GPIO_Port, &GPIO_InitStruct);

  /*Configure GPIO pins : FMC_D2_Pin FMC_D3_Pin FMC_D1_Pin FMC_D15_Pin
                           FMC_D0_Pin FMC_D14_Pin FMC_D13_Pin */
  GPIO_InitStruct.Pin = FMC_D2_Pin|FMC_D3_Pin|FMC_D1_Pin|FMC_D15_Pin
                          |FMC_D0_Pin|FMC_D14_Pin|FMC_D13_Pin;
  GPIO_InitStruct.Mode = GPIO_MODE_AF_PP;
  GPIO_InitStruct.Pull = GPIO_NOPULL;
  GPIO_InitStruct.Speed = GPIO_SPEED_FREQ_VERY_HIGH;
  GPIO_InitStruct.Alternate = GPIO_AF12_FMC;
  HAL_GPIO_Init(GPIOD, &GPIO_InitStruct);

  /*Configure GPIO pins : OTG_FS_P_Pin OTG_FS_N_Pin OTG_FS_ID_Pin */
  GPIO_InitStruct.Pin = OTG_FS_P_Pin|OTG_FS_N_Pin|OTG_FS_ID_Pin;
  GPIO_InitStruct.Mode = GPIO_MODE_AF_PP;
  GPIO_InitStruct.Pull = GPIO_NOPULL;
  GPIO_InitStruct.Speed = GPIO_SPEED_FREQ_VERY_HIGH;
  GPIO_InitStruct.Alternate = GPIO_AF10_OTG_FS;
  HAL_GPIO_Init(GPIOA, &GPIO_InitStruct);

  /*Configure GPIO pins : SAI2_MCLKA_Pin SAI2_SCKA_Pin SAI2_FSA_Pin SAI2_SDA_Pin */
  GPIO_InitStruct.Pin = SAI2_MCLKA_Pin|SAI2_SCKA_Pin|SAI2_FSA_Pin|SAI2_SDA_Pin;
  GPIO_InitStruct.Mode = GPIO_MODE_AF_PP;
  GPIO_InitStruct.Pull = GPIO_NOPULL;
  GPIO_InitStruct.Speed = GPIO_SPEED_FREQ_LOW;
  GPIO_InitStruct.Alternate = GPIO_AF10_SAI2;
  HAL_GPIO_Init(GPIOI, &GPIO_InitStruct);

  /*Configure GPIO pins : LCD_DE_Pin LCD_B7_Pin LCD_B6_Pin LCD_B5_Pin
                           LCD_G6_Pin LCD_G7_Pin LCD_G5_Pin */
  GPIO_InitStruct.Pin = LCD_DE_Pin|LCD_B7_Pin|LCD_B6_Pin|LCD_B5_Pin
                          |LCD_G6_Pin|LCD_G7_Pin|LCD_G5_Pin;
  GPIO_InitStruct.Mode = GPIO_MODE_AF_PP;
  GPIO_InitStruct.Pull = GPIO_NOPULL;
  GPIO_InitStruct.Speed = GPIO_SPEED_FREQ_LOW;
  GPIO_InitStruct.Alternate = GPIO_AF14_LTDC;
  HAL_GPIO_Init(GPIOK, &GPIO_InitStruct);

  /*Configure GPIO pin : LCD_B4_Pin */
  GPIO_InitStruct.Pin = LCD_B4_Pin;
  GPIO_InitStruct.Mode = GPIO_MODE_AF_PP;
  GPIO_InitStruct.Pull = GPIO_NOPULL;
  GPIO_InitStruct.Speed = GPIO_SPEED_FREQ_LOW;
  GPIO_InitStruct.Alternate = GPIO_AF9_LTDC;
  HAL_GPIO_Init(LCD_B4_GPIO_Port, &GPIO_InitStruct);

  /*Configure GPIO pin : SAI2_SDB_Pin */
  GPIO_InitStruct.Pin = SAI2_SDB_Pin;
  GPIO_InitStruct.Mode = GPIO_MODE_AF_PP;
  GPIO_InitStruct.Pull = GPIO_NOPULL;
  GPIO_InitStruct.Speed = GPIO_SPEED_FREQ_LOW;
  GPIO_InitStruct.Alternate = GPIO_AF10_SAI2;
  HAL_GPIO_Init(SAI2_SDB_GPIO_Port, &GPIO_InitStruct);

  /*Configure GPIO pin : OTG_FS_PowerSwitchOn_Pin */
  GPIO_InitStruct.Pin = OTG_FS_PowerSwitchOn_Pin;
  GPIO_InitStruct.Mode = GPIO_MODE_OUTPUT_PP;
  GPIO_InitStruct.Pull = GPIO_NOPULL;
  GPIO_InitStruct.Speed = GPIO_SPEED_FREQ_LOW;
  HAL_GPIO_Init(OTG_FS_PowerSwitchOn_GPIO_Port, &GPIO_InitStruct);

  /*Configure GPIO pin : DCMI_D5_Pin */
  GPIO_InitStruct.Pin = DCMI_D5_Pin;
  GPIO_InitStruct.Mode = GPIO_MODE_AF_PP;
  GPIO_InitStruct.Pull = GPIO_NOPULL;
  GPIO_InitStruct.Speed = GPIO_SPEED_FREQ_LOW;
  GPIO_InitStruct.Alternate = GPIO_AF13_DCMI;
  HAL_GPIO_Init(DCMI_D5_GPIO_Port, &GPIO_InitStruct);

  /*Configure GPIO pins : ARDUINO_D7_Pin ARDUINO_D8_Pin LCD_DISP_Pin */
  GPIO_InitStruct.Pin = ARDUINO_D7_Pin|ARDUINO_D8_Pin|LCD_DISP_Pin;
  GPIO_InitStruct.Mode = GPIO_MODE_OUTPUT_PP;
  GPIO_InitStruct.Pull = GPIO_NOPULL;
  GPIO_InitStruct.Speed = GPIO_SPEED_FREQ_LOW;
  HAL_GPIO_Init(GPIOI, &GPIO_InitStruct);

  /*Configure GPIO pin : uSD_Detect_Pin */
  GPIO_InitStruct.Pin = uSD_Detect_Pin;
  GPIO_InitStruct.Mode = GPIO_MODE_INPUT;
  GPIO_InitStruct.Pull = GPIO_NOPULL;
  HAL_GPIO_Init(uSD_Detect_GPIO_Port, &GPIO_InitStruct);

  /*Configure GPIO pins : FMC_A0_Pin FMC_A1_Pin FMC_A2_Pin FMC_A3_Pin
                           FMC_A4_Pin FMC_A5_Pin FMC_A6_Pin FMC_A9_Pin
                           FMC_A7_Pin FMC_A8_Pin FMC_SDNRAS_Pin */
  GPIO_InitStruct.Pin = FMC_A0_Pin|FMC_A1_Pin|FMC_A2_Pin|FMC_A3_Pin
                          |FMC_A4_Pin|FMC_A5_Pin|FMC_A6_Pin|FMC_A9_Pin
                          |FMC_A7_Pin|FMC_A8_Pin|FMC_SDNRAS_Pin;
  GPIO_InitStruct.Mode = GPIO_MODE_AF_PP;
  GPIO_InitStruct.Pull = GPIO_NOPULL;
  GPIO_InitStruct.Speed = GPIO_SPEED_FREQ_VERY_HIGH;
  GPIO_InitStruct.Alternate = GPIO_AF12_FMC;
  HAL_GPIO_Init(GPIOF, &GPIO_InitStruct);

  /*Configure GPIO pins : LCD_HSYNC_Pin LCD_VSYNC_Pin LCD_R0_Pin LCD_CLK_Pin */
  GPIO_InitStruct.Pin = LCD_HSYNC_Pin|LCD_VSYNC_Pin|LCD_R0_Pin|LCD_CLK_Pin;
  GPIO_InitStruct.Mode = GPIO_MODE_AF_PP;
  GPIO_InitStruct.Pull = GPIO_NOPULL;
  GPIO_InitStruct.Speed = GPIO_SPEED_FREQ_LOW;
  GPIO_InitStruct.Alternate = GPIO_AF14_LTDC;
  HAL_GPIO_Init(GPIOI, &GPIO_InitStruct);

  /*Configure GPIO pin : LCD_BL_CTRL_Pin */
  GPIO_InitStruct.Pin = LCD_BL_CTRL_Pin;
  GPIO_InitStruct.Mode = GPIO_MODE_OUTPUT_PP;
  GPIO_InitStruct.Pull = GPIO_NOPULL;
  GPIO_InitStruct.Speed = GPIO_SPEED_FREQ_LOW;
  HAL_GPIO_Init(LCD_BL_CTRL_GPIO_Port, &GPIO_InitStruct);

  /*Configure GPIO pin : DCMI_VSYNC_Pin */
  GPIO_InitStruct.Pin = DCMI_VSYNC_Pin;
  GPIO_InitStruct.Mode = GPIO_MODE_AF_PP;
  GPIO_InitStruct.Pull = GPIO_NOPULL;
  GPIO_InitStruct.Speed = GPIO_SPEED_FREQ_LOW;
  GPIO_InitStruct.Alternate = GPIO_AF13_DCMI;
  HAL_GPIO_Init(DCMI_VSYNC_GPIO_Port, &GPIO_InitStruct);

  /*Configure GPIO pin : OTG_FS_OverCurrent_Pin */
  GPIO_InitStruct.Pin = OTG_FS_OverCurrent_Pin;
  GPIO_InitStruct.Mode = GPIO_MODE_INPUT;
  GPIO_InitStruct.Pull = GPIO_NOPULL;
  HAL_GPIO_Init(OTG_FS_OverCurrent_GPIO_Port, &GPIO_InitStruct);

  /*Configure GPIO pin : SDMMC_D0_Pin */
  GPIO_InitStruct.Pin = SDMMC_D0_Pin;
  GPIO_InitStruct.Mode = GPIO_MODE_AF_PP;
  GPIO_InitStruct.Pull = GPIO_NOPULL;
  GPIO_InitStruct.Speed = GPIO_SPEED_FREQ_VERY_HIGH;
  GPIO_InitStruct.Alternate = GPIO_AF12_SDMMC1;
  HAL_GPIO_Init(SDMMC_D0_GPIO_Port, &GPIO_InitStruct);

  /*Configure GPIO pins : TP3_Pin NC2_Pin */
  GPIO_InitStruct.Pin = TP3_Pin|NC2_Pin;
  GPIO_InitStruct.Mode = GPIO_MODE_INPUT;
  GPIO_InitStruct.Pull = GPIO_NOPULL;
  HAL_GPIO_Init(GPIOH, &GPIO_InitStruct);

  /*Configure GPIO pin : ARDUINO_SCK_D13_Pin */
  GPIO_InitStruct.Pin = ARDUINO_SCK_D13_Pin;
  GPIO_InitStruct.Mode = GPIO_MODE_AF_PP;
  GPIO_InitStruct.Pull = GPIO_NOPULL;
  GPIO_InitStruct.Speed = GPIO_SPEED_FREQ_LOW;
  GPIO_InitStruct.Alternate = GPIO_AF5_SPI2;
  HAL_GPIO_Init(ARDUINO_SCK_D13_GPIO_Port, &GPIO_InitStruct);

  /*Configure GPIO pin : DCMI_PWR_EN_Pin */
  GPIO_InitStruct.Pin = DCMI_PWR_EN_Pin;
  GPIO_InitStruct.Mode = GPIO_MODE_OUTPUT_PP;
  GPIO_InitStruct.Pull = GPIO_NOPULL;
  GPIO_InitStruct.Speed = GPIO_SPEED_FREQ_LOW;
  HAL_GPIO_Init(DCMI_PWR_EN_GPIO_Port, &GPIO_InitStruct);

  /*Configure GPIO pins : DCMI_D4_Pin DCMI_D3_Pin DCMI_D0_Pin DCMI_D2_Pin
                           DCMI_D1_Pin */
  GPIO_InitStruct.Pin = DCMI_D4_Pin|DCMI_D3_Pin|DCMI_D0_Pin|DCMI_D2_Pin
                          |DCMI_D1_Pin;
  GPIO_InitStruct.Mode = GPIO_MODE_AF_PP;
  GPIO_InitStruct.Pull = GPIO_NOPULL;
  GPIO_InitStruct.Speed = GPIO_SPEED_FREQ_LOW;
  GPIO_InitStruct.Alternate = GPIO_AF13_DCMI;
  HAL_GPIO_Init(GPIOH, &GPIO_InitStruct);

  /*Configure GPIO pin : ARDUINO_PWM_CS_D5_Pin */
  GPIO_InitStruct.Pin = ARDUINO_PWM_CS_D5_Pin;
  GPIO_InitStruct.Mode = GPIO_MODE_AF_PP;
  GPIO_InitStruct.Pull = GPIO_NOPULL;
  GPIO_InitStruct.Speed = GPIO_SPEED_FREQ_LOW;
  GPIO_InitStruct.Alternate = GPIO_AF2_TIM5;
  HAL_GPIO_Init(ARDUINO_PWM_CS_D5_GPIO_Port, &GPIO_InitStruct);

  /*Configure GPIO pin : ARDUINO_PWM_D10_Pin */
  GPIO_InitStruct.Pin = ARDUINO_PWM_D10_Pin;
  GPIO_InitStruct.Mode = GPIO_MODE_AF_PP;
  GPIO_InitStruct.Pull = GPIO_NOPULL;
  GPIO_InitStruct.Speed = GPIO_SPEED_FREQ_LOW;
  GPIO_InitStruct.Alternate = GPIO_AF1_TIM1;
  HAL_GPIO_Init(ARDUINO_PWM_D10_GPIO_Port, &GPIO_InitStruct);

  /*Configure GPIO pin : LCD_INT_Pin */
  GPIO_InitStruct.Pin = LCD_INT_Pin;
  GPIO_InitStruct.Mode = GPIO_MODE_EVT_RISING;
  GPIO_InitStruct.Pull = GPIO_NOPULL;
  HAL_GPIO_Init(LCD_INT_GPIO_Port, &GPIO_InitStruct);

  /*Configure GPIO pins : ARDUINO_RX_D0_Pin ARDUINO_TX_D1_Pin */
  GPIO_InitStruct.Pin = ARDUINO_RX_D0_Pin|ARDUINO_TX_D1_Pin;
  GPIO_InitStruct.Mode = GPIO_MODE_AF_PP;
  GPIO_InitStruct.Pull = GPIO_NOPULL;
  GPIO_InitStruct.Speed = GPIO_SPEED_FREQ_VERY_HIGH;
  GPIO_InitStruct.Alternate = GPIO_AF8_USART6;
  HAL_GPIO_Init(GPIOC, &GPIO_InitStruct);

  /*Configure GPIO pin : ULPI_NXT_Pin */
  GPIO_InitStruct.Pin = ULPI_NXT_Pin;
  GPIO_InitStruct.Mode = GPIO_MODE_AF_PP;
  GPIO_InitStruct.Pull = GPIO_NOPULL;
  GPIO_InitStruct.Speed = GPIO_SPEED_FREQ_VERY_HIGH;
  GPIO_InitStruct.Alternate = GPIO_AF10_OTG_HS;
  HAL_GPIO_Init(ULPI_NXT_GPIO_Port, &GPIO_InitStruct);

  /*Configure GPIO pins : FMC_SDNME_Pin FMC_SDNE0_Pin */
  GPIO_InitStruct.Pin = FMC_SDNME_Pin|FMC_SDNE0_Pin;
  GPIO_InitStruct.Mode = GPIO_MODE_AF_PP;
  GPIO_InitStruct.Pull = GPIO_NOPULL;
  GPIO_InitStruct.Speed = GPIO_SPEED_FREQ_VERY_HIGH;
  GPIO_InitStruct.Alternate = GPIO_AF12_FMC;
  HAL_GPIO_Init(GPIOH, &GPIO_InitStruct);

  /*Configure GPIO pins : ARDUINO_D4_Pin ARDUINO_D2_Pin EXT_RST_Pin */
  GPIO_InitStruct.Pin = ARDUINO_D4_Pin|ARDUINO_D2_Pin|EXT_RST_Pin;
  GPIO_InitStruct.Mode = GPIO_MODE_OUTPUT_PP;
  GPIO_InitStruct.Pull = GPIO_NOPULL;
  GPIO_InitStruct.Speed = GPIO_SPEED_FREQ_LOW;
  HAL_GPIO_Init(GPIOG, &GPIO_InitStruct);

  /*Configure GPIO pins : ARDUINO_A4_Pin ARDUINO_A5_Pin ARDUINO_A1_Pin ARDUINO_A2_Pin
                           ARDUINO_A3_Pin */
  GPIO_InitStruct.Pin = ARDUINO_A4_Pin|ARDUINO_A5_Pin|ARDUINO_A1_Pin|ARDUINO_A2_Pin
                          |ARDUINO_A3_Pin;
  GPIO_InitStruct.Mode = GPIO_MODE_ANALOG;
  GPIO_InitStruct.Pull = GPIO_NOPULL;
  HAL_GPIO_Init(GPIOF, &GPIO_InitStruct);

  /*Configure GPIO pin : FMC_SDCKE0_Pin */
  GPIO_InitStruct.Pin = FMC_SDCKE0_Pin;
  GPIO_InitStruct.Mode = GPIO_MODE_AF_PP;
  GPIO_InitStruct.Pull = GPIO_NOPULL;
  GPIO_InitStruct.Speed = GPIO_SPEED_FREQ_VERY_HIGH;
  GPIO_InitStruct.Alternate = GPIO_AF12_FMC;
  HAL_GPIO_Init(FMC_SDCKE0_GPIO_Port, &GPIO_InitStruct);

  /*Configure GPIO pins : ULPI_STP_Pin ULPI_DIR_Pin */
  GPIO_InitStruct.Pin = ULPI_STP_Pin|ULPI_DIR_Pin;
  GPIO_InitStruct.Mode = GPIO_MODE_AF_PP;
  GPIO_InitStruct.Pull = GPIO_NOPULL;
  GPIO_InitStruct.Speed = GPIO_SPEED_FREQ_VERY_HIGH;
  GPIO_InitStruct.Alternate = GPIO_AF10_OTG_HS;
  HAL_GPIO_Init(GPIOC, &GPIO_InitStruct);

  /*Configure GPIO pins : RMII_MDC_Pin RMII_RXD0_Pin RMII_RXD1_Pin */
  GPIO_InitStruct.Pin = RMII_MDC_Pin|RMII_RXD0_Pin|RMII_RXD1_Pin;
  GPIO_InitStruct.Mode = GPIO_MODE_AF_PP;
  GPIO_InitStruct.Pull = GPIO_NOPULL;
  GPIO_InitStruct.Speed = GPIO_SPEED_FREQ_VERY_HIGH;
  GPIO_InitStruct.Alternate = GPIO_AF11_ETH;
  HAL_GPIO_Init(GPIOC, &GPIO_InitStruct);

  /*Configure GPIO pin : PB2 */
  GPIO_InitStruct.Pin = GPIO_PIN_2;
  GPIO_InitStruct.Mode = GPIO_MODE_AF_PP;
  GPIO_InitStruct.Pull = GPIO_NOPULL;
  GPIO_InitStruct.Speed = GPIO_SPEED_FREQ_VERY_HIGH;
  GPIO_InitStruct.Alternate = GPIO_AF9_QUADSPI;
  HAL_GPIO_Init(GPIOB, &GPIO_InitStruct);

  /*Configure GPIO pins : QSPI_D1_Pin QSPI_D3_Pin QSPI_D0_Pin */
  GPIO_InitStruct.Pin = QSPI_D1_Pin|QSPI_D3_Pin|QSPI_D0_Pin;
  GPIO_InitStruct.Mode = GPIO_MODE_AF_PP;
  GPIO_InitStruct.Pull = GPIO_NOPULL;
  GPIO_InitStruct.Speed = GPIO_SPEED_FREQ_VERY_HIGH;
  GPIO_InitStruct.Alternate = GPIO_AF9_QUADSPI;
  HAL_GPIO_Init(GPIOD, &GPIO_InitStruct);

  /*Configure GPIO pin : RMII_RXER_Pin */
  GPIO_InitStruct.Pin = RMII_RXER_Pin;
  GPIO_InitStruct.Mode = GPIO_MODE_INPUT;
  GPIO_InitStruct.Pull = GPIO_NOPULL;
  HAL_GPIO_Init(RMII_RXER_GPIO_Port, &GPIO_InitStruct);

  /*Configure GPIO pins : RMII_REF_CLK_Pin RMII_MDIO_Pin RMII_CRS_DV_Pin */
  GPIO_InitStruct.Pin = RMII_REF_CLK_Pin|RMII_MDIO_Pin|RMII_CRS_DV_Pin;
  GPIO_InitStruct.Mode = GPIO_MODE_AF_PP;
  GPIO_InitStruct.Pull = GPIO_NOPULL;
  GPIO_InitStruct.Speed = GPIO_SPEED_FREQ_VERY_HIGH;
  GPIO_InitStruct.Alternate = GPIO_AF11_ETH;
  HAL_GPIO_Init(GPIOA, &GPIO_InitStruct);

  /*Configure GPIO pin : ARDUINO_A0_Pin */
  GPIO_InitStruct.Pin = ARDUINO_A0_Pin;
  GPIO_InitStruct.Mode = GPIO_MODE_ANALOG;
  GPIO_InitStruct.Pull = GPIO_NOPULL;
  HAL_GPIO_Init(ARDUINO_A0_GPIO_Port, &GPIO_InitStruct);

  /*Configure GPIO pins : DCMI_HSYNC_Pin PA6 */
  GPIO_InitStruct.Pin = DCMI_HSYNC_Pin|GPIO_PIN_6;
  GPIO_InitStruct.Mode = GPIO_MODE_AF_PP;
  GPIO_InitStruct.Pull = GPIO_NOPULL;
  GPIO_InitStruct.Speed = GPIO_SPEED_FREQ_LOW;
  GPIO_InitStruct.Alternate = GPIO_AF13_DCMI;
  HAL_GPIO_Init(GPIOA, &GPIO_InitStruct);

  /*Configure GPIO pins : LCD_SCL_Pin LCD_SDA_Pin */
  GPIO_InitStruct.Pin = LCD_SCL_Pin|LCD_SDA_Pin;
  GPIO_InitStruct.Mode = GPIO_MODE_AF_OD;
  GPIO_InitStruct.Pull = GPIO_NOPULL;
  GPIO_InitStruct.Speed = GPIO_SPEED_FREQ_VERY_HIGH;
  GPIO_InitStruct.Alternate = GPIO_AF4_I2C3;
  HAL_GPIO_Init(GPIOH, &GPIO_InitStruct);

  /*Configure GPIO pins : ULPI_CLK_Pin ULPI_D0_Pin */
  GPIO_InitStruct.Pin = ULPI_CLK_Pin|ULPI_D0_Pin;
  GPIO_InitStruct.Mode = GPIO_MODE_AF_PP;
  GPIO_InitStruct.Pull = GPIO_NOPULL;
  GPIO_InitStruct.Speed = GPIO_SPEED_FREQ_VERY_HIGH;
  GPIO_InitStruct.Alternate = GPIO_AF10_OTG_HS;
  HAL_GPIO_Init(GPIOA, &GPIO_InitStruct);

  /*Configure GPIO pin : ARDUINO_PWM_D6_Pin */
  GPIO_InitStruct.Pin = ARDUINO_PWM_D6_Pin;
  GPIO_InitStruct.Mode = GPIO_MODE_AF_PP;
  GPIO_InitStruct.Pull = GPIO_NOPULL;
  GPIO_InitStruct.Speed = GPIO_SPEED_FREQ_LOW;
  GPIO_InitStruct.Alternate = GPIO_AF9_TIM12;
  HAL_GPIO_Init(ARDUINO_PWM_D6_GPIO_Port, &GPIO_InitStruct);

  /*Configure GPIO pins : ARDUINO_MISO_D12_Pin ARDUINO_MOSI_PWM_D11_Pin */
  GPIO_InitStruct.Pin = ARDUINO_MISO_D12_Pin|ARDUINO_MOSI_PWM_D11_Pin;
  GPIO_InitStruct.Mode = GPIO_MODE_AF_PP;
  GPIO_InitStruct.Pull = GPIO_NOPULL;
  GPIO_InitStruct.Speed = GPIO_SPEED_FREQ_LOW;
  GPIO_InitStruct.Alternate = GPIO_AF5_SPI2;
  HAL_GPIO_Init(GPIOB, &GPIO_InitStruct);

}

void Error_Handler(void)
{
  __disable_irq();
  while (1)
  {
  }
}
